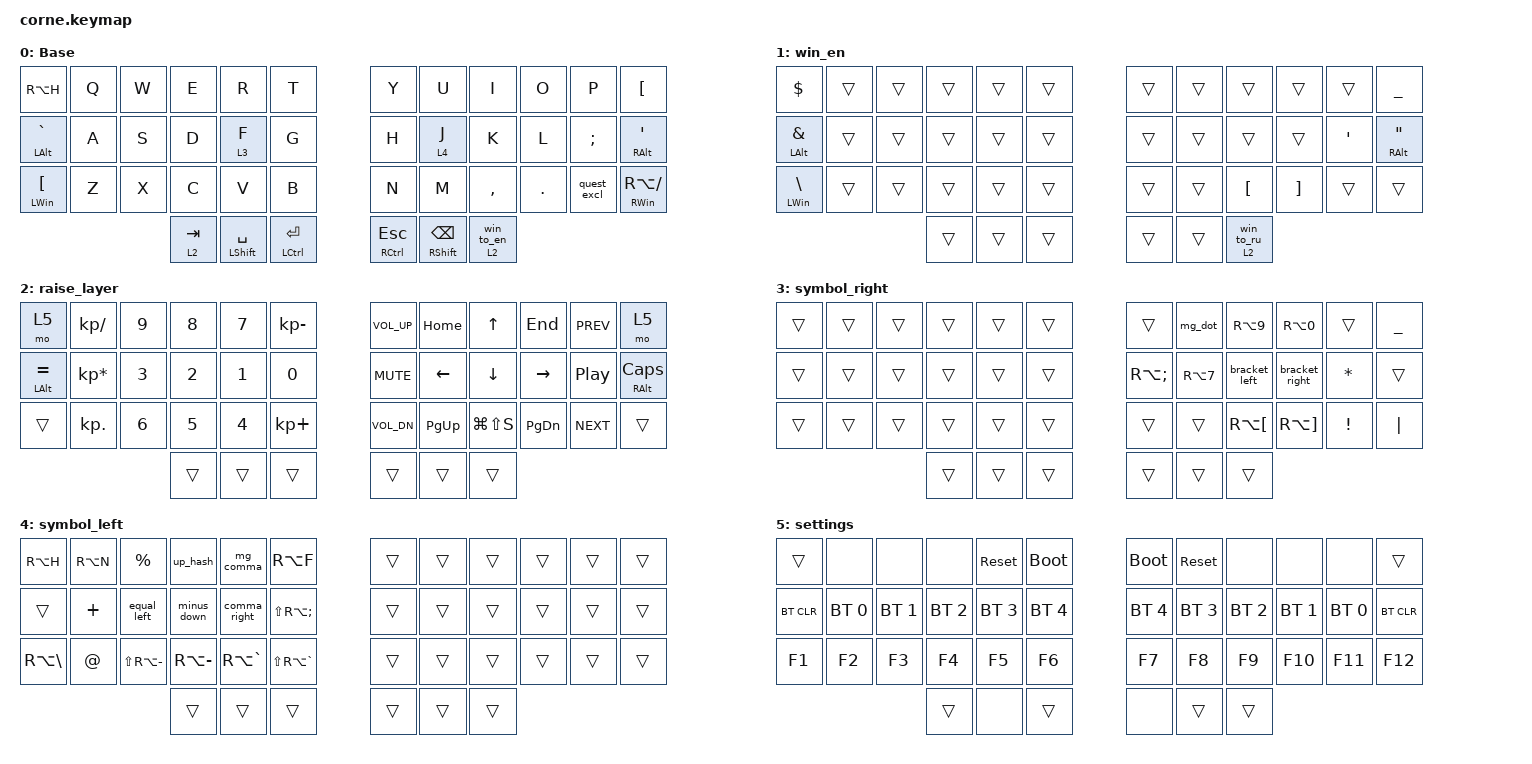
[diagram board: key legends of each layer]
/*
 * Copyright (c) 2020 The ZMK Contributors
 *
 * SPDX-License-Identifier: MIT
 */

#include <behaviors.dtsi>
#include <dt-bindings/zmk/bt.h>
#include <dt-bindings/zmk/keys.h>

&lt { quick-tap-ms = <200>; };

&mt { quick-tap-ms = <200>; };

&sk { quick-release; };

/ {
    macros {
        mg_dot: mg_dot {
            compatible = "zmk,behavior-macro";
            #binding-cells = <0>;
            bindings = <&kp RA(N7) &kp SPACE &sk LEFT_SHIFT>;
            label = "MG_DOT";
            wait-ms = <5>;
            tap-ms = <5>;
        };

        mg_comma: mg_comma {
            compatible = "zmk,behavior-macro";
            #binding-cells = <0>;
            bindings = <&kp RA(N6) &kp SPACE>;
            label = "MG_COMMA";
            wait-ms = <5>;
            tap-ms = <5>;
        };

        win_to_en: mac_to_en {
            compatible = "zmk,behavior-macro";
            #binding-cells = <0>;
            bindings = <&kp LC(LS(NUMBER_2)) &to 1>;
            label = "MAC_TO_EN";
            wait-ms = <5>;
            tap-ms = <5>;
        };

        win_to_ru: mac_to_ru {
            compatible = "zmk,behavior-macro";
            #binding-cells = <0>;
            bindings = <&kp LC(LS(NUMBER_1)) &to 0>;
            label = "MAC_TO_RU";
            wait-ms = <5>;
            tap-ms = <5>;
        };
    };

    behaviors {
        quest_excl: quest_excl {
            compatible = "zmk,behavior-mod-morph";
            label = "QUEST_EXCL";
            bindings = <&kp LS(RA(SLASH))>, <&kp EXCLAMATION>;

            #binding-cells = <0>;
            mods = <(MOD_LSFT|MOD_RSFT)>;
        };

        bracket_left: bracket_left {
            compatible = "zmk,behavior-mod-morph";
            label = "BRACKET_LEFT";
            bindings = <&kp LEFT_PARENTHESIS>, <&kp LS(RA(NUMBER_6))>;

            #binding-cells = <0>;
            mods = <(MOD_LSFT|MOD_RSFT)>;
            keep-mods = <(MOD_LSFT|MOD_RSFT)>;
        };

        bracket_right: bracket_right {
            compatible = "zmk,behavior-mod-morph";
            label = "BRACKET_RIGHT";
            bindings = <&kp RIGHT_PARENTHESIS>, <&kp LS(RA(NUMBER_7))>;

            #binding-cells = <0>;
            mods = <(MOD_LSFT|MOD_RSFT)>;
            keep-mods = <(MOD_LSFT|MOD_RSFT)>;
        };

        comma_right: comma_right {
            compatible = "zmk,behavior-mod-morph";
            label = "COMMA_RIGHT";
            bindings = <&kp RA(NUMBER_6)>, <&kp RA(L)>;

            #binding-cells = <0>;
            mods = <(MOD_LSFT|MOD_RSFT)>;
        };

        minus_down: minus_down {
            compatible = "zmk,behavior-mod-morph";
            label = "MINUS_DOWN";
            bindings = <&kp MINUS>, <&kp RA(K)>;

            #binding-cells = <0>;
            mods = <(MOD_LSFT|MOD_RSFT)>;
        };

        up_hash: up_hash {
            compatible = "zmk,behavior-mod-morph";
            label = "UP_HASH";
            bindings = <&kp HASH>, <&kp RA(I)>;

            #binding-cells = <0>;
            mods = <(MOD_LSFT|MOD_RSFT)>;
        };

        equal_left: equal_left {
            compatible = "zmk,behavior-mod-morph";
            label = "EQUAL_LEFT";
            bindings = <&kp EQUAL>, <&kp RA(J)>;

            #binding-cells = <0>;
            mods = <(MOD_LSFT|MOD_RSFT)>;
        };

        hrm_left: hrm_left {
            compatible = "zmk,behavior-hold-tap";
            label = "HRM_LEFT";
            bindings = <&mo>, <&kp>;

            #binding-cells = <2>;
            tapping-term-ms = <220>;
            quick-tap-ms = <175>;
            require-prior-idle-ms = <150>;
            flavor = "balanced";
            hold-trigger-key-positions = <18 19 20 32 7 8 9 11 21 22 34 35 33>;
        };

        hrm_right: hrm_right {
            compatible = "zmk,behavior-hold-tap";
            label = "HRM_RIGHT";
            bindings = <&mo>, <&kp>;

            #binding-cells = <2>;
            tapping-term-ms = <220>;
            quick-tap-ms = <175>;
            require-prior-idle-ms = <150>;
            flavor = "balanced";
            hold-trigger-key-positions = <0 1 2 3 4 5 14 15 16 17 25 26 27 28 29 14 24 13>;
        };

        to_en_raise: to_en_raise {
            compatible = "zmk,behavior-hold-tap";
            label = "TO_EN_RAISE";
            bindings = <&mo>, <&win_to_en>;

            #binding-cells = <2>;
            tapping-term-ms = <200>;
            quick-tap-ms = <175>;
            require-prior-idle-ms = <150>;
            flavor = "balanced";
        };

        to_ru_raise: to_ru_raise {
            compatible = "zmk,behavior-hold-tap";
            label = "TO_RU_RAISE";
            bindings = <&mo>, <&win_to_ru>;

            #binding-cells = <2>;
            tapping-term-ms = <200>;
            quick-tap-ms = <175>;
            require-prior-idle-ms = <150>;
            flavor = "balanced";
        };
    };

    keymap {
        compatible = "zmk,keymap";

        win_default_ru {
            // -----------------------------------------------------------------------------------------
            // |  TAB |  Q  |  W  |  E  |  R  |  T  |   |  Y  |  U   |  I  |  O  |  P  | BKSP |
            // | CTRL |  A  |  S  |  D  |  F  |  G  |   |  H  |  J   |  K  |  L  |  ;  |  '   |
            // | SHFT |  Z  |  X  |  C  |  V  |  B  |   |  N  |  M   |  ,  |  .  |  /  | ESC  |
            //                    | GUI | LWR | SPC |   | ENT | RSE  | ALT |

            display-name = "Base";
            bindings = <
&kp RA(H)                  &kp Q  &kp W  &kp E      &kp R             &kp T                   &kp Y                     &kp U                      &kp I             &kp O    &kp P        &kp LEFT_BRACKET
&mt LEFT_ALT GRAVE         &kp A  &kp S  &kp D      &hrm_left 3 F     &kp G                   &kp H                     &hrm_right 4 J             &kp K             &kp L    &kp SEMI     &mt RIGHT_ALT APOSTROPHE
&mt LEFT_WIN LEFT_BRACKET  &kp Z  &kp X  &kp C      &kp V             &kp B                   &kp N                     &kp M                      &kp COMMA         &kp DOT  &quest_excl  &mt RIGHT_WIN RA(SLASH)
                                         &lt 2 TAB  &mt LSHIFT SPACE  &mt LEFT_CONTROL RET    &mt RIGHT_CONTROL ESCAPE  &mt RIGHT_SHIFT BACKSPACE  &to_en_raise 2 0
            >;
        };

        win_en {
            bindings = <
&kp DOLLAR              &trans  &trans  &trans  &trans  &trans    &trans  &trans  &trans            &trans             &trans            &kp UNDERSCORE
&mt LEFT_ALT AMPERSAND  &trans  &trans  &trans  &trans  &trans    &trans  &trans  &trans            &trans             &kp SINGLE_QUOTE  &mt RIGHT_ALT DOUBLE_QUOTES
&mt LEFT_WIN BACKSLASH  &trans  &trans  &trans  &trans  &trans    &trans  &trans  &kp LEFT_BRACKET  &kp RIGHT_BRACKET  &trans            &trans
                                        &trans  &trans  &trans    &trans  &trans  &to_ru_raise 2 0
            >;
        };

        raise_layer {
            bindings = <
&mo 5               &kp KP_SLASH     &kp N9  &kp N8  &kp N7  &kp KP_MINUS    &kp C_VOL_UP  &kp HOME     &kp UP         &kp END        &kp C_PREV  &mo 5
&mt LEFT_ALT EQUAL  &kp KP_MULTIPLY  &kp N3  &kp N2  &kp N1  &kp N0          &kp C_MUTE    &kp LEFT     &kp DOWN       &kp RIGHT      &kp C_PP    &mt RIGHT_ALT CAPSLOCK
&trans              &kp KP_DOT       &kp N6  &kp N5  &kp N4  &kp KP_PLUS     &kp C_VOL_DN  &kp PAGE_UP  &kp LG(LS(S))  &kp PAGE_DOWN  &kp C_NEXT  &trans
                                             &trans  &trans  &trans          &trans        &trans       &trans
            >;
        };

        symbol_right {
            bindings = <
&trans  &trans  &trans  &trans  &trans  &trans    &trans             &mg_dot     &kp RA(N9)            &kp RA(N0)             &trans           &kp UNDERSCORE
&trans  &trans  &trans  &trans  &trans  &trans    &kp RA(SEMICOLON)  &kp RA(N7)  &bracket_left         &bracket_right         &kp ASTERISK     &trans
&trans  &trans  &trans  &trans  &trans  &trans    &trans             &trans      &kp RA(LEFT_BRACKET)  &kp RA(RIGHT_BRACKET)  &kp EXCLAMATION  &kp PIPE
                        &trans  &trans  &trans    &trans             &trans      &trans
            >;
        };

        symbol_left {
            bindings = <
&kp RA(H)          &kp RA(N)    &kp PERCENT        &up_hash       &mg_comma      &kp RA(F)                &trans  &trans  &trans  &trans  &trans  &trans
&trans             &kp PLUS     &equal_left        &minus_down    &comma_right   &kp LS(RA(SEMICOLON))    &trans  &trans  &trans  &trans  &trans  &trans
&kp RA(BACKSLASH)  &kp AT_SIGN  &kp LS(RA(MINUS))  &kp RA(MINUS)  &kp RA(GRAVE)  &kp LS(RA(GRAVE))        &trans  &trans  &trans  &trans  &trans  &trans
                                                   &trans         &trans         &trans                   &trans  &trans  &trans
            >;
        };

        settings {
            bindings = <
&trans      &none         &none         &none         &sys_reset    &bootloader     &bootloader   &sys_reset    &none         &none         &none         &trans
&bt BT_CLR  &bt BT_SEL 0  &bt BT_SEL 1  &bt BT_SEL 2  &bt BT_SEL 3  &bt BT_SEL 4    &bt BT_SEL 4  &bt BT_SEL 3  &bt BT_SEL 2  &bt BT_SEL 1  &bt BT_SEL 0  &bt BT_CLR
&kp F1      &kp F2        &kp F3        &kp F4        &kp F5        &kp F6          &kp F7        &kp F8        &kp F9        &kp F10       &kp F11       &kp F12
                                        &trans        &none         &trans          &none         &trans        &trans
            >;
        };
    };
};
